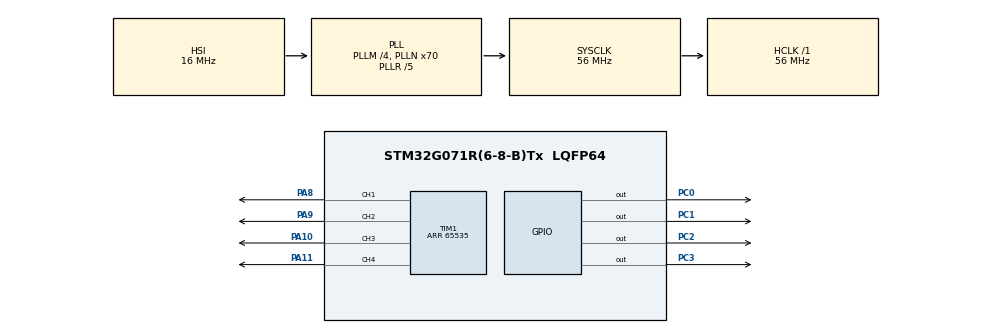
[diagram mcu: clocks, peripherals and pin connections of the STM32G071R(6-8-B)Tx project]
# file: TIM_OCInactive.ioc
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Mcu.Family=STM32G0
Mcu.Name=STM32G071R(6-8-B)Tx
Mcu.Package=LQFP64
NVIC.TIM1_CC_IRQn=true\:0\:0\:false\:false\:true\:true\:true\:true
PA10.GPIO_PuPd=GPIO_PULLUP
PA10.GPIO_Speed=GPIO_SPEED_FREQ_VERY_HIGH
PA10.Signal=S_TIM1_CH3
PA11\ [PA9].GPIO_PuPd=GPIO_PULLUP
PA11\ [PA9].GPIO_Speed=GPIO_SPEED_FREQ_VERY_HIGH
PA11\ [PA9].Signal=S_TIM1_CH4
PA8.GPIO_PuPd=GPIO_PULLUP
PA8.GPIO_Speed=GPIO_SPEED_FREQ_VERY_HIGH
PA8.Signal=S_TIM1_CH1
PA9.GPIO_PuPd=GPIO_PULLUP
PA9.GPIO_Speed=GPIO_SPEED_FREQ_VERY_HIGH
PA9.Signal=S_TIM1_CH2
PC0.GPIO_PuPd=GPIO_PULLUP
PC0.GPIO_Speed=GPIO_SPEED_FREQ_HIGH
PC0.Signal=GPIO_Output
PC1.GPIO_PuPd=GPIO_PULLUP
PC1.GPIO_Speed=GPIO_SPEED_FREQ_HIGH
PC1.Signal=GPIO_Output
PC2.GPIO_PuPd=GPIO_PULLUP
PC2.GPIO_Speed=GPIO_SPEED_FREQ_HIGH
PC2.Signal=GPIO_Output
PC3.GPIO_PuPd=GPIO_PULLUP
PC3.GPIO_Speed=GPIO_SPEED_FREQ_HIGH
PC3.Signal=GPIO_Output
ProjectManager.HeapSize=0x200
ProjectManager.StackSize=0x400
ProjectManager.TargetToolchain=EWARM V8.50
RCC.ADCFreq_Value=56000000
RCC.AHBFreq_Value=56000000
RCC.CodegenConfigPeriph=false
RCC.CortexFreq_Value=56000000
RCC.EXTERNAL_CLOCK_VALUE=48000
RCC.HCLKFreq_Value=56000000
RCC.HSE_VALUE=8000000
RCC.HSI_VALUE=16000000
RCC.LSE_VALUE=32768
RCC.PLLM=RCC_PLLM_DIV4
RCC.PLLN=70
RCC.PLLP=RCC_PLLP_DIV10
RCC.PLLQ=RCC_PLLQ_DIV5
RCC.PLLR=RCC_PLLR_DIV5
RCC.SYSCLKFreq_VALUE=56000000
RCC.SYSCLKSource=RCC_SYSCLKSOURCE_PLLCLK
RCC.VCOOutputFreq_Value=280000000
SH.S_TIM1_CH1.0=TIM1_CH1,Output Compare1 CH1
SH.S_TIM1_CH2.0=TIM1_CH2,Output Compare2 CH2
SH.S_TIM1_CH3.0=TIM1_CH3,Output Compare3 CH3
SH.S_TIM1_CH4.0=TIM1_CH4,Output Compare4 CH4
TIM1.Channel-Output\ Compare1\ CH1=TIM_CHANNEL_1
TIM1.Channel-Output\ Compare2\ CH2=TIM_CHANNEL_2
TIM1.Channel-Output\ Compare3\ CH3=TIM_CHANNEL_3
TIM1.Channel-Output\ Compare4\ CH4=TIM_CHANNEL_4
TIM1.OCMode_1=TIM_OCMODE_INACTIVE
TIM1.OCMode_2=TIM_OCMODE_INACTIVE
TIM1.OCMode_3=TIM_OCMODE_INACTIVE
TIM1.OCMode_4=TIM_OCMODE_INACTIVE
TIM1.Period=65535
TIM1.Prescaler=PRESCALER_VALUE
TIM1.Pulse-Output\ Compare1\ CH1=PULSE1_VALUE
TIM1.Pulse-Output\ Compare2\ CH2=PULSE2_VALUE
TIM1.Pulse-Output\ Compare3\ CH3=PULSE3_VALUE
TIM1.Pulse-Output\ Compare4\ CH4=PULSE4_VALUE
VP_SYS_VS_DBSignals.Mode=DisableDeadBatterySignals
board=custom

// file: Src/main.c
/* USER CODE BEGIN Header */
/**
  ******************************************************************************
  * @file    TIM/TIM_OCInactive/Src/main.c
  * @author  MCD Application Team
  * @brief   This example shows how to configure the Timer to generate four
  *          delayed signals.
  ******************************************************************************
  * @attention
  *
  * Copyright (c) 2018-2020 STMicroelectronics.
  * All rights reserved.
  *
  * This software is licensed under terms that can be found in the LICENSE file
  * in the root directory of this software component.
  * If no LICENSE file comes with this software, it is provided AS-IS.
  *
  ******************************************************************************
  */
/* USER CODE END Header */
#include "main.h"

TIM_HandleTypeDef htim1;

void SystemClock_Config(void);
static void MX_GPIO_Init(void);
static void MX_TIM1_Init(void);

int main(void)
{
  /* USER CODE BEGIN 1 */
  /* STM32G0xx HAL library initialization:
       - Configure the Flash prefetch
       - Systick timer is configured by default as source of time base, but user
         can eventually implement his proper time base source (a general purpose
         timer for example or other time source), keeping in mind that Time base
         duration should be kept 1ms since PPP_TIMEOUT_VALUEs are defined and
         handled in milliseconds basis.
       - Low Level Initialization
     */
  /* USER CODE END 1 */

  /* MCU Configuration--------------------------------------------------------*/

  /* Reset of all peripherals, Initializes the Flash interface and the Systick. */
  HAL_Init();

  /* Configure the system clock */
  SystemClock_Config();

  /* Initialize all configured peripherals */
  MX_GPIO_Init();
  MX_TIM1_Init();
  /* USER CODE BEGIN 2 */
  /*## Set GPIO Pins PC0, PC1, PC2 and PC3 as reference ###################*/
  HAL_GPIO_WritePin(GPIOC, GPIO_PIN_0, GPIO_PIN_SET);
  HAL_GPIO_WritePin(GPIOC, GPIO_PIN_1, GPIO_PIN_SET);
  HAL_GPIO_WritePin(GPIOC, GPIO_PIN_2, GPIO_PIN_SET);
  HAL_GPIO_WritePin(GPIOC, GPIO_PIN_3, GPIO_PIN_SET);

  /*## Start signals generation #######################################*/
  /* Start channel 1 in Output compare mode */
  if(HAL_TIM_OC_Start_IT(&htim1, TIM_CHANNEL_1) != HAL_OK)
  {
    /* Starting Error */
    Error_Handler();
  }
  /* Start channel 2 in Output compare mode */
  if(HAL_TIM_OC_Start_IT(&htim1, TIM_CHANNEL_2) != HAL_OK)
  {
    /* Starting Error */
    Error_Handler();
  }
  /* Start channel 3 in Output compare mode */
  if(HAL_TIM_OC_Start_IT(&htim1, TIM_CHANNEL_3) != HAL_OK)
  {
    /* Starting Error */
    Error_Handler();
  }
  /* Start channel 4 in Output compare mode */
  if(HAL_TIM_OC_Start_IT(&htim1, TIM_CHANNEL_4) != HAL_OK)
  {
    /* Starting Error */
    Error_Handler();
  }

  /* USER CODE END 2 */

  /* Infinite loop */
  while (1)
  {

  }
}

void SystemClock_Config(void)
{
  RCC_OscInitTypeDef RCC_OscInitStruct = {0};
  RCC_ClkInitTypeDef RCC_ClkInitStruct = {0};

  /** Configure the main internal regulator output voltage
  */
  HAL_PWREx_ControlVoltageScaling(PWR_REGULATOR_VOLTAGE_SCALE1);

  /** Initializes the RCC Oscillators according to the specified parameters
  * in the RCC_OscInitTypeDef structure.
  */
  RCC_OscInitStruct.OscillatorType = RCC_OSCILLATORTYPE_HSI;
  RCC_OscInitStruct.HSIState = RCC_HSI_ON;
  RCC_OscInitStruct.HSIDiv = RCC_HSI_DIV1;
  RCC_OscInitStruct.HSICalibrationValue = RCC_HSICALIBRATION_DEFAULT;
  RCC_OscInitStruct.PLL.PLLState = RCC_PLL_ON;
  RCC_OscInitStruct.PLL.PLLSource = RCC_PLLSOURCE_HSI;
  RCC_OscInitStruct.PLL.PLLM = RCC_PLLM_DIV4;
  RCC_OscInitStruct.PLL.PLLN = 70;
  RCC_OscInitStruct.PLL.PLLP = RCC_PLLP_DIV10;
  RCC_OscInitStruct.PLL.PLLQ = RCC_PLLQ_DIV5;
  RCC_OscInitStruct.PLL.PLLR = RCC_PLLR_DIV5;
  if (HAL_RCC_OscConfig(&RCC_OscInitStruct) != HAL_OK)
  {
    Error_Handler();
  }

  /** Initializes the CPU, AHB and APB buses clocks
  */
  RCC_ClkInitStruct.ClockType = RCC_CLOCKTYPE_HCLK|RCC_CLOCKTYPE_SYSCLK
                              |RCC_CLOCKTYPE_PCLK1;
  RCC_ClkInitStruct.SYSCLKSource = RCC_SYSCLKSOURCE_PLLCLK;
  RCC_ClkInitStruct.AHBCLKDivider = RCC_SYSCLK_DIV1;
  RCC_ClkInitStruct.APB1CLKDivider = RCC_HCLK_DIV1;

  if (HAL_RCC_ClockConfig(&RCC_ClkInitStruct, FLASH_LATENCY_2) != HAL_OK)
  {
    Error_Handler();
  }
}

static void MX_TIM1_Init(void)
{

  TIM_MasterConfigTypeDef sMasterConfig = {0};
  TIM_OC_InitTypeDef sConfigOC = {0};
  TIM_BreakDeadTimeConfigTypeDef sBreakDeadTimeConfig = {0};

  htim1.Instance = TIM1;
  htim1.Init.Prescaler = PRESCALER_VALUE;
  htim1.Init.CounterMode = TIM_COUNTERMODE_UP;
  htim1.Init.Period = 65535;
  htim1.Init.ClockDivision = TIM_CLOCKDIVISION_DIV1;
  htim1.Init.RepetitionCounter = 0;
  htim1.Init.AutoReloadPreload = TIM_AUTORELOAD_PRELOAD_DISABLE;
  if (HAL_TIM_OC_Init(&htim1) != HAL_OK)
  {
    Error_Handler();
  }
  sMasterConfig.MasterOutputTrigger = TIM_TRGO_RESET;
  sMasterConfig.MasterOutputTrigger2 = TIM_TRGO2_RESET;
  sMasterConfig.MasterSlaveMode = TIM_MASTERSLAVEMODE_DISABLE;
  if (HAL_TIMEx_MasterConfigSynchronization(&htim1, &sMasterConfig) != HAL_OK)
  {
    Error_Handler();
  }
  sConfigOC.OCMode = TIM_OCMODE_INACTIVE;
  sConfigOC.Pulse = PULSE1_VALUE;
  sConfigOC.OCPolarity = TIM_OCPOLARITY_HIGH;
  sConfigOC.OCNPolarity = TIM_OCNPOLARITY_HIGH;
  sConfigOC.OCFastMode = TIM_OCFAST_DISABLE;
  sConfigOC.OCIdleState = TIM_OCIDLESTATE_RESET;
  sConfigOC.OCNIdleState = TIM_OCNIDLESTATE_RESET;
  if (HAL_TIM_OC_ConfigChannel(&htim1, &sConfigOC, TIM_CHANNEL_1) != HAL_OK)
  {
    Error_Handler();
  }
  sConfigOC.Pulse = PULSE2_VALUE;
  if (HAL_TIM_OC_ConfigChannel(&htim1, &sConfigOC, TIM_CHANNEL_2) != HAL_OK)
  {
    Error_Handler();
  }
  sConfigOC.Pulse = PULSE3_VALUE;
  if (HAL_TIM_OC_ConfigChannel(&htim1, &sConfigOC, TIM_CHANNEL_3) != HAL_OK)
  {
    Error_Handler();
  }
  sConfigOC.Pulse = PULSE4_VALUE;
  if (HAL_TIM_OC_ConfigChannel(&htim1, &sConfigOC, TIM_CHANNEL_4) != HAL_OK)
  {
    Error_Handler();
  }
  sBreakDeadTimeConfig.OffStateRunMode = TIM_OSSR_DISABLE;
  sBreakDeadTimeConfig.OffStateIDLEMode = TIM_OSSI_DISABLE;
  sBreakDeadTimeConfig.LockLevel = TIM_LOCKLEVEL_OFF;
  sBreakDeadTimeConfig.DeadTime = 0;
  sBreakDeadTimeConfig.BreakState = TIM_BREAK_DISABLE;
  sBreakDeadTimeConfig.BreakPolarity = TIM_BREAKPOLARITY_HIGH;
  sBreakDeadTimeConfig.BreakFilter = 0;
  sBreakDeadTimeConfig.BreakAFMode = TIM_BREAK_AFMODE_INPUT;
  sBreakDeadTimeConfig.Break2State = TIM_BREAK2_DISABLE;
  sBreakDeadTimeConfig.Break2Polarity = TIM_BREAK2POLARITY_HIGH;
  sBreakDeadTimeConfig.Break2Filter = 0;
  sBreakDeadTimeConfig.Break2AFMode = TIM_BREAK_AFMODE_INPUT;
  sBreakDeadTimeConfig.AutomaticOutput = TIM_AUTOMATICOUTPUT_DISABLE;
  if (HAL_TIMEx_ConfigBreakDeadTime(&htim1, &sBreakDeadTimeConfig) != HAL_OK)
  {
    Error_Handler();
  }
  HAL_TIM_MspPostInit(&htim1);

}

static void MX_GPIO_Init(void)
{
  GPIO_InitTypeDef GPIO_InitStruct = {0};

  /* GPIO Ports Clock Enable */
  __HAL_RCC_GPIOC_CLK_ENABLE();
  __HAL_RCC_GPIOA_CLK_ENABLE();

  /*Configure GPIO pin Output Level */
  HAL_GPIO_WritePin(GPIOC, GPIO_PIN_0|GPIO_PIN_1|GPIO_PIN_2|GPIO_PIN_3, GPIO_PIN_RESET);

  /*Configure GPIO pins : PC0 PC1 PC2 PC3 */
  GPIO_InitStruct.Pin = GPIO_PIN_0|GPIO_PIN_1|GPIO_PIN_2|GPIO_PIN_3;
  GPIO_InitStruct.Mode = GPIO_MODE_OUTPUT_PP;
  GPIO_InitStruct.Pull = GPIO_PULLUP;
  GPIO_InitStruct.Speed = GPIO_SPEED_FREQ_HIGH;
  HAL_GPIO_Init(GPIOC, &GPIO_InitStruct);

}

/* USER CODE BEGIN 4 */
/**
  * @brief  Output Compare callback in non blocking mode
  * @param  htim : TIM OC handle
  * @retval None
  */
void HAL_TIM_OC_DelayElapsedCallback(TIM_HandleTypeDef *htim)
{
  if(htim->Channel == HAL_TIM_ACTIVE_CHANNEL_1)
  {
    /* Reset GPIO Pin PC0 after 1s */
    HAL_GPIO_WritePin(GPIOC, GPIO_PIN_0, GPIO_PIN_RESET);
  }
  else if(htim->Channel == HAL_TIM_ACTIVE_CHANNEL_2)
  {
    /* Reset GPIO Pin PC1 after 500ms */
    HAL_GPIO_WritePin(GPIOC, GPIO_PIN_1, GPIO_PIN_RESET);
  }
  else if(htim->Channel == HAL_TIM_ACTIVE_CHANNEL_3)
  {
    /* Reset GPIO Pin PC2 after 250ms */
    HAL_GPIO_WritePin(GPIOC, GPIO_PIN_2, GPIO_PIN_RESET);
  }
  else
  {
    /* Reset GPIO Pin PC3 after 125ms */
    HAL_GPIO_WritePin(GPIOC, GPIO_PIN_3, GPIO_PIN_RESET);
  }
}

/* USER CODE END 4 */

void Error_Handler(void)
{
  while(1)
  {
  }
}
